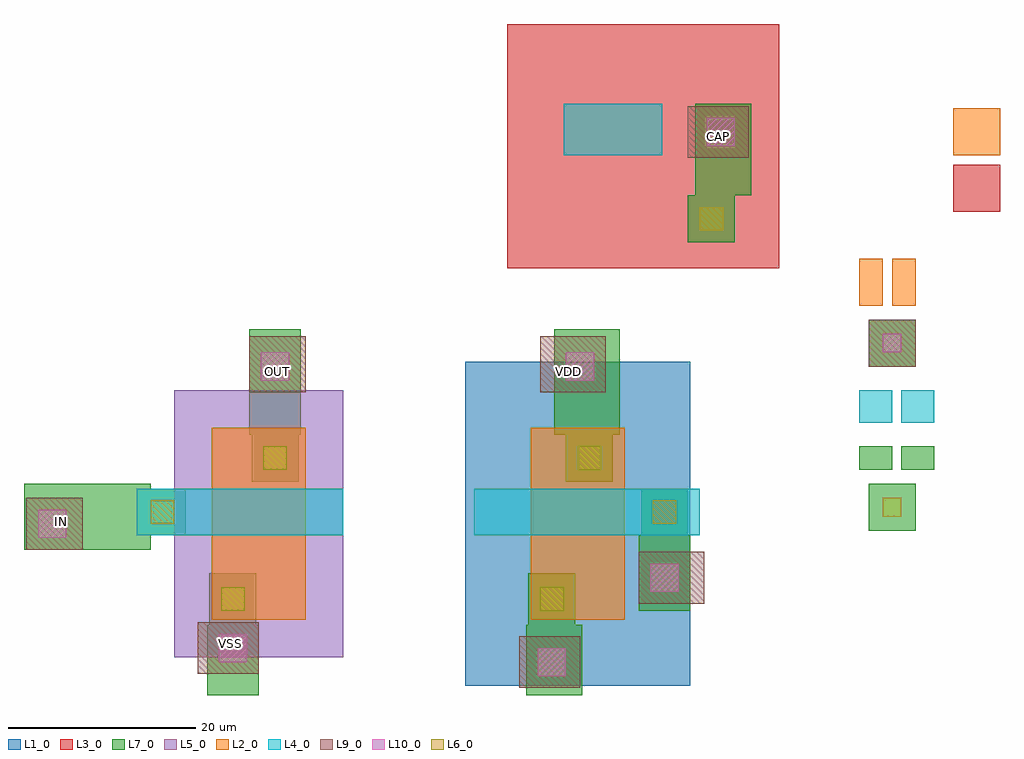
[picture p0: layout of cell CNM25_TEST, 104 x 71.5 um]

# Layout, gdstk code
import gdstk
lib = gdstk.Library(unit=1e-6, precision=2.5e-07)
def R(c, l, rs):  # rectangles x0, y0, x1, y1
    for r in rs: c.add(gdstk.rectangle(r[:2], r[2:], *l))
L1_0 = (1, 0)
L2_0 = (2, 0)
L3_0 = (3, 0)
L4_0 = (4, 0)
L5_0 = (5, 0)
L6_0 = (6, 0)
L7_0 = (7, 0)
L9_0 = (9, 0)
L10_0 = (10, 0)

cnm25_test = lib.new_cell('CNM25_TEST')
R(cnm25_test, L1_0, [(23,-15.5,47,19)])
R(cnm25_test, L2_0, [(-4,-8.5,6,12), (30,-8.5,40,12), (65,25,67.5,30), (68.5,25,71,30), (75,41,80,46)])
R(cnm25_test, L3_0, [(27.5,29,56.5,55), (75,35,80,40)])
R(cnm25_test, L4_0, [(-12,0.5,10,5.5), (24,0.5,48,5.5), (65,12.5,68.5,16), (69.5,12.5,73,16), (33.5,41,44,46.5)])
R(cnm25_test, L5_0, [(-8,-12.5,10,16)])
R(cnm25_test, L6_0, [(-3,-7.5,-0.5,-5), (31,-7.5,33.5,-5), (-10.5,1.75,-8,4.25), (43,1.75,45.5,4.25), (67.5,2.5,69.5,4.5), (1.5,7.5,4,10), (35,7.5,37.5,10), (48,33,50.5,35.5)])
R(cnm25_test, L7_0, [(-4.5,-16.5,1,-9), (29.5,-16.5,35.5,-9), (-4.25,-9,0.75,-3.5), (29.75,-9,34.75,-3.5), (41.5,-7.5,47,0.5), (-24,-1,-10.5,6), (-11.75,0.5,-6.75,5.5), (41.75,0.5,46.75,5.5), (66,1,71,6), (0.25,6.25,5.25,11.25), (33.75,6.25,38.75,11.25), (65,7.5,68.5,10), (69.5,7.5,73,10), (0,11.25,5.5,22.5), (32.5,11.25,39.5,22.5), (66,18.5,71,23.5), (46.75,31.75,51.75,36.75), (47.5,36.75,53.5,46.5)])
R(cnm25_test, L9_0, [(28.75,-15.75,35.25,-10.25), (-5.5,-14.25,1,-8.75), (41.5,-6.75,48.5,-1.25), (-23.75,-1,-17.75,4.5), (0,15.75,6,21.75), (31,15.75,38,21.75), (66,18.5,71,23.5), (46.75,40.75,53.25,46.25)])
R(cnm25_test, L10_0, [(30.75,-14.5,33.75,-11.5), (-3.25,-13,-0.25,-10), (42.75,-5.5,45.75,-2.5), (-22.5,0.25,-19.5,3.25), (1.25,17,4.25,20), (33.75,17,36.75,20), (67.5,20,69.5,22), (48.75,42,51.75,45)])
cnm25_test.add(gdstk.Label('VDD', (34,18), layer=64, texttype=0))
cnm25_test.add(gdstk.Label('VSS', (-2,-11), layer=64, texttype=0))
cnm25_test.add(gdstk.Label('IN', (-20,2), layer=64, texttype=0))
cnm25_test.add(gdstk.Label('OUT', (3,18), layer=64, texttype=0))
cnm25_test.add(gdstk.Label('CAP', (50,43), layer=64, texttype=0))
cnm25_test.add(gdstk.Label('TAMPER', (274,90), layer=64, texttype=0))

lib.write_gds('CNM25_TEST.gds')
